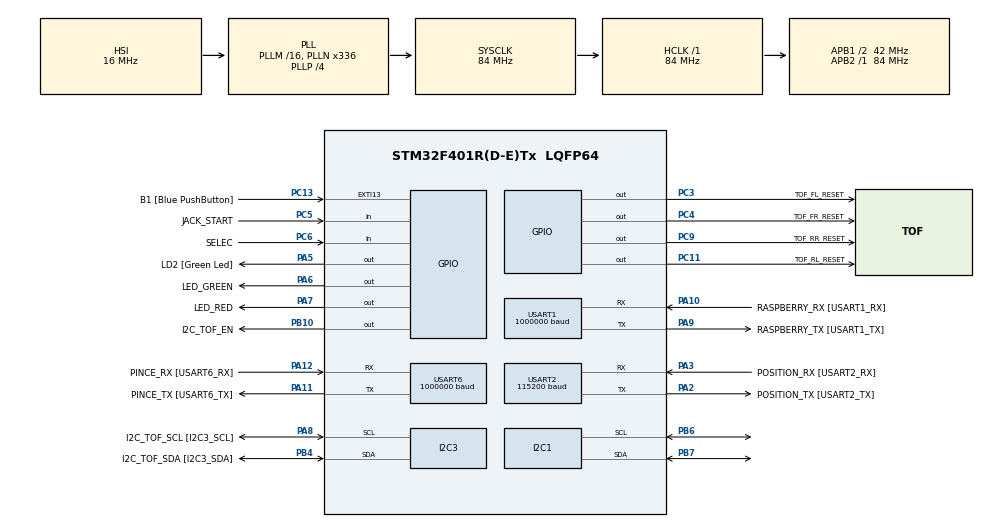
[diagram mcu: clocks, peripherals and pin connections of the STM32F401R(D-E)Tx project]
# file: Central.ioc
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Dma.Request0=USART1_RX
Dma.Request1=USART6_RX
Dma.Request2=USART2_RX
Dma.USART1_RX.0.Direction=DMA_PERIPH_TO_MEMORY
Dma.USART1_RX.0.FIFOMode=DMA_FIFOMODE_DISABLE
Dma.USART1_RX.0.Instance=DMA2_Stream2
Dma.USART1_RX.0.MemDataAlignment=DMA_MDATAALIGN_BYTE
Dma.USART1_RX.0.MemInc=DMA_MINC_ENABLE
Dma.USART1_RX.0.Mode=DMA_CIRCULAR
Dma.USART1_RX.0.PeriphDataAlignment=DMA_PDATAALIGN_BYTE
Dma.USART1_RX.0.PeriphInc=DMA_PINC_DISABLE
Dma.USART1_RX.0.Priority=DMA_PRIORITY_LOW
Dma.USART2_RX.2.Direction=DMA_PERIPH_TO_MEMORY
Dma.USART2_RX.2.FIFOMode=DMA_FIFOMODE_DISABLE
Dma.USART2_RX.2.Instance=DMA1_Stream5
Dma.USART2_RX.2.MemDataAlignment=DMA_MDATAALIGN_BYTE
Dma.USART2_RX.2.MemInc=DMA_MINC_ENABLE
Dma.USART2_RX.2.Mode=DMA_CIRCULAR
Dma.USART2_RX.2.PeriphDataAlignment=DMA_PDATAALIGN_BYTE
Dma.USART2_RX.2.PeriphInc=DMA_PINC_DISABLE
Dma.USART2_RX.2.Priority=DMA_PRIORITY_LOW
Dma.USART6_RX.1.Direction=DMA_PERIPH_TO_MEMORY
Dma.USART6_RX.1.FIFOMode=DMA_FIFOMODE_DISABLE
Dma.USART6_RX.1.Instance=DMA2_Stream1
Dma.USART6_RX.1.MemDataAlignment=DMA_MDATAALIGN_BYTE
Dma.USART6_RX.1.MemInc=DMA_MINC_ENABLE
Dma.USART6_RX.1.Mode=DMA_CIRCULAR
Dma.USART6_RX.1.PeriphDataAlignment=DMA_PDATAALIGN_BYTE
Dma.USART6_RX.1.PeriphInc=DMA_PINC_DISABLE
Dma.USART6_RX.1.Priority=DMA_PRIORITY_LOW
I2C3.I2C_Mode=I2C_Fast
Mcu.Family=STM32F4
Mcu.Name=STM32F401R(D-E)Tx
Mcu.Package=LQFP64
NVIC.DMA1_Stream5_IRQn=true\:0\:0\:false\:false\:true\:false
NVIC.DMA2_Stream1_IRQn=true\:0\:0\:false\:false\:true\:false
NVIC.DMA2_Stream2_IRQn=true\:0\:0\:false\:false\:true\:false
NVIC.I2C3_EV_IRQn=true\:0\:0\:false\:false\:true\:true
NVIC.PriorityGroup=NVIC_PRIORITYGROUP_4
NVIC.TIM2_IRQn=true\:0\:0\:false\:false\:true\:true
NVIC.TIM3_IRQn=true\:1\:0\:true\:false\:true\:true
NVIC.USART1_IRQn=true\:0\:0\:false\:false\:true\:true
NVIC.USART2_IRQn=true\:0\:0\:false\:false\:true\:true
NVIC.USART6_IRQn=true\:0\:0\:false\:false\:true\:true
PA10.GPIO_Label=RASPBERRY_RX [USART1_RX]
PA10.Mode=Asynchronous
PA10.Signal=USART1_RX
PA11.GPIO_Label=PINCE_TX [USART6_TX]
PA11.Mode=Asynchronous
PA11.Signal=USART6_TX
PA12.GPIO_Label=PINCE_RX [USART6_RX]
PA12.Mode=Asynchronous
PA12.Signal=USART6_RX
PA13.GPIO_Label=TMS
PA13.Signal=SYS_JTMS-SWDIO
PA14.GPIO_Label=TCK
PA14.Signal=SYS_JTCK-SWCLK
PA2.GPIO_Label=POSITION_TX [USART2_TX]
PA2.Mode=Asynchronous
PA2.Signal=USART2_TX
PA3.GPIO_Label=POSITION_RX [USART2_RX]
PA3.Mode=Asynchronous
PA3.Signal=USART2_RX
PA5.GPIO_Label=LD2 [Green Led]
PA5.GPIO_Mode=GPIO_MODE_OUTPUT_PP
PA5.GPIO_PuPd=GPIO_NOPULL
PA5.GPIO_Speed=GPIO_SPEED_FREQ_LOW
PA5.Signal=GPIO_Output
PA6.GPIO_Label=LED_GREEN
PA6.Signal=GPIO_Output
PA7.GPIO_Label=LED_RED
PA7.Signal=GPIO_Output
PA8.GPIO_Label=I2C_TOF_SCL [I2C3_SCL]
PA8.Mode=I2C
PA8.Signal=I2C3_SCL
PA9.GPIO_Label=RASPBERRY_TX [USART1_TX]
PA9.Mode=Asynchronous
PA9.Signal=USART1_TX
PB10.GPIO_Label=I2C_TOF_EN
PB10.Signal=GPIO_Output
PB3.GPIO_Label=SWO
PB3.Signal=SYS_JTDO-SWO
PB4.GPIO_Label=I2C_TOF_SDA [I2C3_SDA]
PB4.Mode=I2C
PB4.Signal=I2C3_SDA
PB6.Mode=I2C
PB6.Signal=I2C1_SCL
PB7.Mode=I2C
PB7.Signal=I2C1_SDA
PC11.GPIO_Label=TOF_RL_RESET
PC11.Signal=GPIO_Output
PC13-ANTI_TAMP.GPIO_Label=B1 [Blue PushButton]
PC13-ANTI_TAMP.GPIO_ModeDefaultEXTI=GPIO_MODE_IT_FALLING
PC13-ANTI_TAMP.GPIO_PuPd=GPIO_NOPULL
PC13-ANTI_TAMP.Signal=GPXTI13
PC14-OSC32_IN.Signal=RCC_OSC32_IN
PC15-OSC32_OUT.Signal=RCC_OSC32_OUT
PC3.GPIO_Label=TOF_FL_RESET
PC3.Signal=GPIO_Output
PC3.Stacked=true
PC4.GPIO_Label=TOF_FR_RESET
PC4.Signal=GPIO_Output
PC5.GPIO_Label=JACK_START
PC5.GPIO_PuPd=GPIO_PULLUP
PC5.Signal=GPIO_Input
PC6.GPIO_Label=SELEC
PC6.GPIO_PuPd=GPIO_PULLUP
PC6.Signal=GPIO_Input
PC9.GPIO_Label=TOF_RR_RESET
PC9.Signal=GPIO_Output
PH0\ -\ OSC_IN.Signal=RCC_OSC_IN
PH1\ -\ OSC_OUT.Signal=RCC_OSC_OUT
ProjectManager.HeapSize=0x200
ProjectManager.StackSize=0x400
ProjectManager.TargetToolchain=Makefile
RCC.AHBFreq_Value=84000000
RCC.APB1CLKDivider=RCC_HCLK_DIV2
RCC.APB1Freq_Value=42000000
RCC.APB1TimFreq_Value=84000000
RCC.APB2Freq_Value=84000000
RCC.APB2TimFreq_Value=84000000
RCC.CortexFreq_Value=84000000
RCC.HCLKFreq_Value=84000000
RCC.HSE_VALUE=8000000
RCC.HSI_VALUE=16000000
RCC.LSE_VALUE=32768
RCC.PLLN=336
RCC.PLLP=RCC_PLLP_DIV4
RCC.PLLQ=7
RCC.SYSCLKFreq_VALUE=84000000
RCC.SYSCLKSource=RCC_SYSCLKSOURCE_PLLCLK
RCC.VCOOutputFreq_Value=336000000
TIM2.ClockDivision=TIM_CLOCKDIVISION_DIV1
TIM2.CounterMode=TIM_COUNTERMODE_UP
TIM2.Period=50000-1
TIM2.Prescaler=42000-1
TIM3.Period=100-1
TIM3.Prescaler=42000-1
USART1.BaudRate=1000000
USART1.VirtualMode=VM_ASYNC
USART2.BaudRate=115200
USART2.VirtualMode=VM_ASYNC
USART6.BaudRate=1000000
USART6.VirtualMode=VM_ASYNC
VP_TIM2_VS_ClockSourceINT.Mode=Internal
VP_TIM3_VS_ClockSourceINT.Mode=Internal
board=NUCLEO-F401RE

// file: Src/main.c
/**
  ******************************************************************************
  * @file           : main.c
  * @brief          : Main program body
  ******************************************************************************
  ** This notice applies to any and all portions of this file
  * that are not between comment pairs USER CODE BEGIN and
  * USER CODE END. Other portions of this file, whether
  * inserted by the user or by software development tools
  * are owned by their respective copyright owners.
  *
  * COPYRIGHT(c) 2018 STMicroelectronics
  *
  * Redistribution and use in source and binary forms, with or without modification,
  * are permitted provided that the following conditions are met:
  *   1. Redistributions of source code must retain the above copyright notice,
  *      this list of conditions and the following disclaimer.
  *   2. Redistributions in binary form must reproduce the above copyright notice,
  *      this list of conditions and the following disclaimer in the documentation
  *      and/or other materials provided with the distribution.
  *   3. Neither the name of STMicroelectronics nor the names of its contributors
  *      may be used to endorse or promote products derived from this software
  *      without specific prior written permission.
  *
  * THIS SOFTWARE IS PROVIDED BY THE COPYRIGHT HOLDERS AND CONTRIBUTORS "AS IS"
  * AND ANY EXPRESS OR IMPLIED WARRANTIES, INCLUDING, BUT NOT LIMITED TO, THE
  * IMPLIED WARRANTIES OF MERCHANTABILITY AND FITNESS FOR A PARTICULAR PURPOSE ARE
  * DISCLAIMED. IN NO EVENT SHALL THE COPYRIGHT HOLDER OR CONTRIBUTORS BE LIABLE
  * FOR ANY DIRECT, INDIRECT, INCIDENTAL, SPECIAL, EXEMPLARY, OR CONSEQUENTIAL
  * DAMAGES (INCLUDING, BUT NOT LIMITED TO, PROCUREMENT OF SUBSTITUTE GOODS OR
  * SERVICES; LOSS OF USE, DATA, OR PROFITS; OR BUSINESS INTERRUPTION) HOWEVER
  * CAUSED AND ON ANY THEORY OF LIABILITY, WHETHER IN CONTRACT, STRICT LIABILITY,
  * OR TORT (INCLUDING NEGLIGENCE OR OTHERWISE) ARISING IN ANY WAY OUT OF THE USE
  * OF THIS SOFTWARE, EVEN IF ADVISED OF THE POSSIBILITY OF SUCH DAMAGE.
  *
  ******************************************************************************
  */
#include "main.h"
#include "stm32f4xx_hal.h"
#include "dma.h"
#include "i2c.h"
#include "tim.h"
#include "usart.h"
#include "gpio.h"

/* USER CODE BEGIN Includes */
#include "system.h"
#include "pi_client.h"
#include "tof.h"
#include <stdio.h>
#include "strategy.h"
#include "map.h"
#include "position_client.h"
#include "z_client.h"
#include "gas.h"
#include "build.h"
#include "obstacle.h"
/* USER CODE END Includes */

/* USER CODE BEGIN PV */
/* Private variables ---------------------------------------------------------*/

/* USER CODE END PV */

void SystemClock_Config(void);

/* USER CODE BEGIN PFP */
/* Private function prototypes -----------------------------------------------*/

/* USER CODE END PFP */

/* USER CODE BEGIN 0 */

ToF_Handler tof[NB_TOF];

static int Init_ToF(ToF_Handler *htof, uint8_t i2c_addr, GPIO_TypeDef *xshut_port, uint32_t xshut_pin);

/* USER CODE END 0 */

int main(void)
{

  /* MCU Configuration----------------------------------------------------------*/

  /* Reset of all peripherals, Initializes the Flash interface and the Systick. */
  HAL_Init();

  /* Configure the system clock */
  SystemClock_Config();

  /* Initialize all configured peripherals */
  MX_GPIO_Init();
  MX_DMA_Init();
  MX_I2C1_Init();
  MX_I2C3_Init();
  MX_USART1_UART_Init();
  MX_USART2_UART_Init();
  MX_USART6_UART_Init();
  MX_TIM2_Init();
  MX_TIM3_Init();
  /* USER CODE BEGIN 2 */

  //==================================================//
  //            ToF Initialisation                    //
  //==================================================//
  //Wait for the devices to reset
  HAL_Delay(TOF_DELAY);

  //Init the time of flight sensors
  Init_ToF(&tof[TOF_FRONT_LEFT], 0x54, TOF_FL_RESET_GPIO_Port, TOF_FL_RESET_Pin);
  Init_ToF(&tof[TOF_FRONT_RIGHT], 0x56, TOF_FR_RESET_GPIO_Port, TOF_FR_RESET_Pin);
  Init_ToF(&tof[TOF_REAR_LEFT], 0x58, TOF_RL_RESET_GPIO_Port, TOF_RL_RESET_Pin);
  Init_ToF(&tof[TOF_REAR_RIGHT], 0x60, TOF_RR_RESET_GPIO_Port, TOF_RR_RESET_Pin);

  //==================================================//
  //           UART Protocol Init                     //
  //==================================================//

  //Raspberry
  RP_Init_Interface(&pi_iface, USART1, RP_UART_Transmit, HAL_GetTick);
  RP_INIT_UART_DMA(DMA2, LL_DMA_STREAM_2, USART1, pi_iface);

  //Position
  RP_Init_Interface(&pos_iface, USART2, RP_UART_Transmit, HAL_GetTick);
  RP_INIT_UART_DMA(DMA1, LL_DMA_STREAM_5, USART2, pos_iface);

  //Z-Axis
  //RP_Init_Interface(&z_iface, USART6, RP_UART_Transmit, HAL_GetTick);
  //RP_INIT_UART_DMA(DMA2, LL_DMA_STREAM_1, USART6, z_iface);

  //==================================================//
  //           Remote Call Client Init                //
  //==================================================//
  PI_Init();

  Position_Init();

  Pos_Disable();

  //Z_Init();

  //HAL_Delay(1000);
  //==================================================//
  //                 Wait Start                       //
  //==================================================//
  wait_start();

  Pos_Reset();
  HAL_Delay(500);
  Init_Strategy(team);
  Position_Init_Odometry();
  Pos_Enable();

  switch(team){
  case GREEN_TEAM:
    PI_Log("Green team\n");
    break;
  case ORANGE_TEAM:
    PI_Log("Orange team\n");
    break;
    }
  PI_Start();

  PI_Score(48);
  uint32_t t;
  switch(team){
  case GREEN_TEAM:
    Print_Position();
    while(Go_Straight(CZ_X+CZ_W/2-70/2, me.y, true, 0.2) == -1);
    HAL_Delay(1000);
    Pos_Set_Angle(1, -3.14/2);
    HAL_Delay(1000);
    while(Go_Straight(me.x, me.y-50, true, 0.2) == -1);
    HAL_Delay(1000);
    while(Go_Straight(me.x, me.y+150, false, 0.2) == -1);
    HAL_Delay(1000);
    Pos_Set_Angle(1, 0.1);
    HAL_Delay(5000);
    while(Go_Straight(1075, me.y, true, 0.2) == -1);
    HAL_Delay(1000);
    Pos_Set_Angle(1, 3.14/2);
    HAL_Delay(5000);
    t = HAL_GetTick();
    while(Go_Straight(me.x, 50, false, 0.5) == -1){
      if(HAL_GetTick() > t + 10000){
	Pos_Disable();
      }
    }
    break;
  case ORANGE_TEAM:
    Print_Position();
    while(Go_Straight(AREA_WIDTH-(CZ_X+CZ_W/2-70/2), me.y, true, 0.2) == -1);
    HAL_Delay(1000);
    Pos_Set_Angle(1, -3.14/2);
    HAL_Delay(1000);
    while(Go_Straight(me.x, me.y-50, true, 0.2) == -1);
    HAL_Delay(1000);
    while(Go_Straight(me.x, me.y+150, false, 0.2) == -1);
    HAL_Delay(1000);
    Pos_Set_Angle(1, -3.14/2);
    HAL_Delay(5000);
    Pos_Set_Angle(1, -3.14);
    HAL_Delay(5000);
    while(Go_Straight(AREA_WIDTH-1075, me.y, true, 0.2) == -1);
    HAL_Delay(1000);
    Pos_Set_Angle(1, -3.14/2);
    HAL_Delay(2000);
    Pos_Set_Angle(1, 0.1);
    HAL_Delay(2000);
    Pos_Set_Angle(1, 3.14/2);
    HAL_Delay(5000);
    while(Go_Straight(me.x, 50, false, 0.5) == -1);
    while(Go_Straight(me.x, me.y+300, false, 0.1) == -1);
    break;
  }

  /*
  Print_Position();
  Go_Straight(300, me.y, true, 1.);
  Go_Straight(600, me.y, true, 1.);
  Go_Straight(900, me.y, true, 1.);
  Go_Straight(1075, me.y, true, 1.);
  Print_Position();*/
  //Pos_Set_Angle(3.14, 3.14/2);
  //Pos_Go_Forward(100, 50);

  //GOGOGO(AREA_WIDTH-200, AREA_HEIGHT-200);

  /*
  int i;
  switch(team){
  case GREEN_TEAM:
    Balec_Move(me.x + 400, me.y, true, 0.4);
    HAL_Delay(5000);
    //Rotate(-3.14/2);
    for(i = 0; i < 4; i++){
      Rotate(i*(-3.14)/8);
      HAL_Delay(1000);
    }
    HAL_Delay(5000);
    Balec_Move(me.x, me.y - 200, true, 0.4);
    HAL_Delay(5000);
    Z_Place();
    break;

  case ORANGE_TEAM:
    Balec_Move(me.x - 400, me.y, true, 0.4);
    HAL_Delay(5000);
    for(i = 0; i < 4; i++){
      Rotate(i*(3.14)/8);
      HAL_Delay(1000);
    }
    HAL_Delay(5000);
    Balec_Move(me.x, me.y - 200, true, 0.4);
    HAL_Delay(5000);
    Z_Place();
    break;
  }
  */

  //Go_Straight(me.x + 50, me.y, true, 0.2);
  //Balec_Move(me.x + 500, me.y, true, 0.2);
  /*HAL_Delay(5000);
    Brake();*/

  /*
  while(1){
    float msr;
    int r = Can_Move(100, false, &msr);
     PI_Log("(%d, %d) %f %d\n", me.x, me.y, msr, r);
    //PI_Log("(%d, %d, %f)", (int)me.x, (int)me.y, (float)me.angle);
    //Print_Obstacles();
    HAL_Delay(500);
    }*/

  //Rotate(3.141592/4.);

  //Pos_Go_Forward(100, 25);
  //Rotate(me.angle -3.14/4);
  //HAL_Delay(5000);
  //Rotate(me.angle + 3.14/4);
  //Go_Straight(me.x + 20,  me.y, true, 0.2);

  /*Z_Arm_In();
  HAL_Delay(1000);
  Z_Arm_Out();
  HAL_Delay(1000);
  Z_Place();
  Z_State state;
  if(Z_Wait_State(&state) == -1){
    PI_Log("Z State error\n");
  }
  switch(state){
  case Z_SUCCESS:
    PI_Log("Z_SUCCESS\n");
    break;
  case Z_ERROR:
    PI_Log("Z_ERROR\n");
    break;
  }
  PI_Log("Z End\n");

  if(Pos_Get_Position() == -1){
    PI_Log("Pos get : pas de réponse.\n");
  }else{
    PI_Log("%u %u %f\n", me.x, me.y, me.angle);
  }*/

  //<homologation>
  //Go_Straight((t==GREEN_TEAM)?610:(AREA_WIDTH-610), 180-DIST_APPROACH-CUBE_SIZE, true, 0.2), Z_Place();
  //</homologation>

  //TODO : init strategy, odometry, ...

  /*
  Set_Construction_Plan(ORANGE, GREEN, BLUE);
  volatile uint32_t ticks = HAL_GetTick();
  Refresh_Map();//8ms
  Cell *start = &Get_Cell(me.x, me.y);
  int x_goal = MAP_WIDTH-3;
  int y_goal = MAP_HEIGHT-3;
  Cell *end = Compute_Path(start, &map[y_goal][x_goal]);//11ms
  Compute_Building_Strategy();//110ms
  ticks = HAL_GetTick() - ticks;
  HAL_Delay(ticks);
  */

  /* USER CODE END 2 */

  /* Infinite loop */
  /* USER CODE BEGIN WHILE */

  //me.angle = 0;
  //me.x = AREA_WIDTH/2;
  //me.y = AREA_HEIGHT/2;
  while (1){
    //__disable_irq();
    //Print_Obstacles();
    //PI_Log("\n\n");
    //PI_Log("%u %u %f\n", me.x, me.y, me.angle);
    //__enable_irq();
    //Print_ToF();

    HAL_Delay(500);
  /* USER CODE END WHILE */

  }

}

void SystemClock_Config(void)
{

  RCC_OscInitTypeDef RCC_OscInitStruct;
  RCC_ClkInitTypeDef RCC_ClkInitStruct;

    /**Configure the main internal regulator output voltage
    */
  __HAL_RCC_PWR_CLK_ENABLE();

  __HAL_PWR_VOLTAGESCALING_CONFIG(PWR_REGULATOR_VOLTAGE_SCALE2);

    /**Initializes the CPU, AHB and APB busses clocks
    */
  RCC_OscInitStruct.OscillatorType = RCC_OSCILLATORTYPE_HSI;
  RCC_OscInitStruct.HSIState = RCC_HSI_ON;
  RCC_OscInitStruct.HSICalibrationValue = 16;
  RCC_OscInitStruct.PLL.PLLState = RCC_PLL_ON;
  RCC_OscInitStruct.PLL.PLLSource = RCC_PLLSOURCE_HSI;
  RCC_OscInitStruct.PLL.PLLM = 16;
  RCC_OscInitStruct.PLL.PLLN = 336;
  RCC_OscInitStruct.PLL.PLLP = RCC_PLLP_DIV4;
  RCC_OscInitStruct.PLL.PLLQ = 7;
  if (HAL_RCC_OscConfig(&RCC_OscInitStruct) != HAL_OK)
  {
    _Error_Handler(__FILE__, __LINE__);
  }

    /**Initializes the CPU, AHB and APB busses clocks
    */
  RCC_ClkInitStruct.ClockType = RCC_CLOCKTYPE_HCLK|RCC_CLOCKTYPE_SYSCLK
                              |RCC_CLOCKTYPE_PCLK1|RCC_CLOCKTYPE_PCLK2;
  RCC_ClkInitStruct.SYSCLKSource = RCC_SYSCLKSOURCE_PLLCLK;
  RCC_ClkInitStruct.AHBCLKDivider = RCC_SYSCLK_DIV1;
  RCC_ClkInitStruct.APB1CLKDivider = RCC_HCLK_DIV2;
  RCC_ClkInitStruct.APB2CLKDivider = RCC_HCLK_DIV1;

  if (HAL_RCC_ClockConfig(&RCC_ClkInitStruct, FLASH_LATENCY_2) != HAL_OK)
  {
    _Error_Handler(__FILE__, __LINE__);
  }

    /**Configure the Systick interrupt time
    */
  HAL_SYSTICK_Config(HAL_RCC_GetHCLKFreq()/1000);

    /**Configure the Systick
    */
  HAL_SYSTICK_CLKSourceConfig(SYSTICK_CLKSOURCE_HCLK);

  /* SysTick_IRQn interrupt configuration */
  HAL_NVIC_SetPriority(SysTick_IRQn, 0, 0);
}

/* USER CODE BEGIN 4 */
void HardFault_Handler(void){
  PI_Error();
  hlt();
}

static int Init_ToF(ToF_Handler *htof, uint8_t i2c_addr, GPIO_TypeDef *xshut_port, uint32_t xshut_pin){
  //You definitely don't want to know what we're doing
  //there. Seriously, don't do that. Please.
  GPIO_InitTypeDef GPIO_InitStruct;
  GPIO_InitStruct.Mode = GPIO_MODE_ANALOG;
  GPIO_InitStruct.Pull = GPIO_NOPULL;
  GPIO_InitStruct.Pin = xshut_pin;

  HAL_GPIO_Init(xshut_port, &GPIO_InitStruct);

  //Wait for the chip to start
  HAL_Delay(TOF_DELAY);

  //Init structure
  ToF_Init_Struct(htof, &hi2c3);

  ToF_Params params;

  //Check the initial address
  if(ToF_Poke(&htof->dev) == -1)
    return -1;

  //Set the new address
  if(ToF_Set_Address(&htof->dev, i2c_addr) == -1)
    return -1;

  //Init the device
  if(ToF_Init_Device(&htof->dev) == -1)
    return -1;

  //Long range config
  TOF_LONG_RANGE_CONFIG(params);

  //Configure the device
  if(ToF_Configure_Device(&htof->dev, &params, VL53L0X_DEVICEMODE_CONTINUOUS_RANGING)== -1)
    return -1;

  //Start the device
  if(VL53L0X_StartMeasurement(&htof->dev) == -1)
    return -1;

  return 0;
}
/* USER CODE END 4 */

void _Error_Handler(char *file, int line)
{
  while(1)
  {
  }
}

/************************ (C) COPYRIGHT STMicroelectronics *****END OF FILE****/
